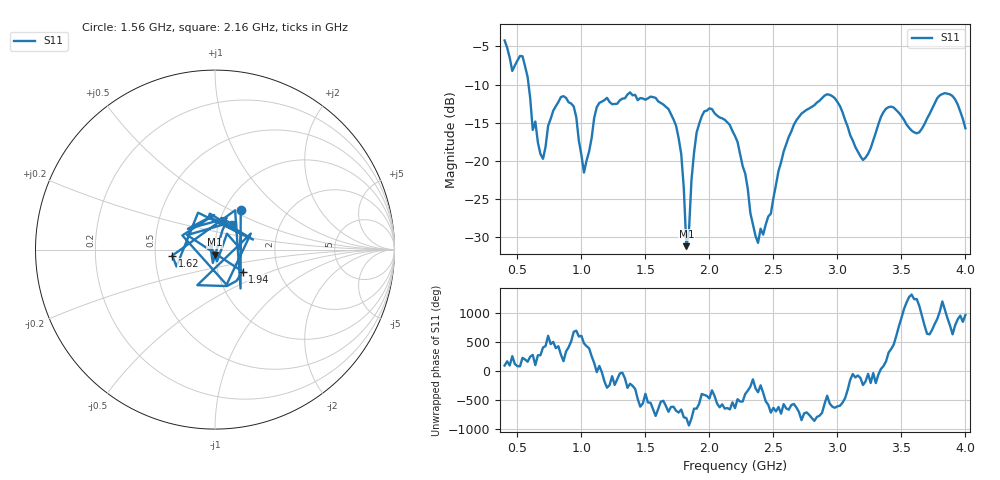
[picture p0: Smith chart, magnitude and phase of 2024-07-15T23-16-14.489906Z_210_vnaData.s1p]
!Created with skrf (http://scikit-rf.org).
# Hz S RI R 50.0
!freq ReS11 ImS11
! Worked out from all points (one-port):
!   181 points, 400 MHz to 4 GHz, reference 50 ohm
!   lowest |S11| = -31.1 dB at 1.82 GHz (marker M1), VSWR 1.06, Z = 49.7 - j2.75 ohm
!   |S11| at or under -10 dB: 587.2 MHz to end of sweep
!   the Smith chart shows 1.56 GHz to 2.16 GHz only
!   S11 on the Smith chart (normalised r, x): 1.56 GHz: 1.19, +0.56; 1.62 GHz: 0.61, -0.04; 1.94 GHz: 1.31, -0.33; 2.16 GHz: 1.16, +0.34
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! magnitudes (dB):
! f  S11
! 400 MHz  -4.2
! 460 MHz  -8.2
! 540 MHz  -6.3
! 620 MHz  -15.9
! 700 MHz  -19.7
! 860 MHz  -11.5
! 940 MHz  -12.9
! 1.02 GHz  -21.5
! 1.12 GHz  -13.0
! 1.3 GHz  -12.1
! 1.56 GHz  -11.6
! 1.62 GHz  -12.4
! 1.76 GHz  -17.0
! 1.8 GHz  -23.6
! 1.82 GHz  -31.1
! 1.88 GHz  -18.9
! 1.94 GHz  -14.2
! 2.16 GHz  -15.3
! 2.2 GHz  -16.7
! 2.38 GHz  -30.7
! 2.66 GHz  -15.2
! 2.92 GHz  -11.3
! 3.1 GHz  -16.6
! 3.2 GHz  -19.9
! 3.38 GHz  -13.1
! 3.56 GHz  -15.6
! 3.84 GHz  -11.1
! 4 GHz  -15.7
